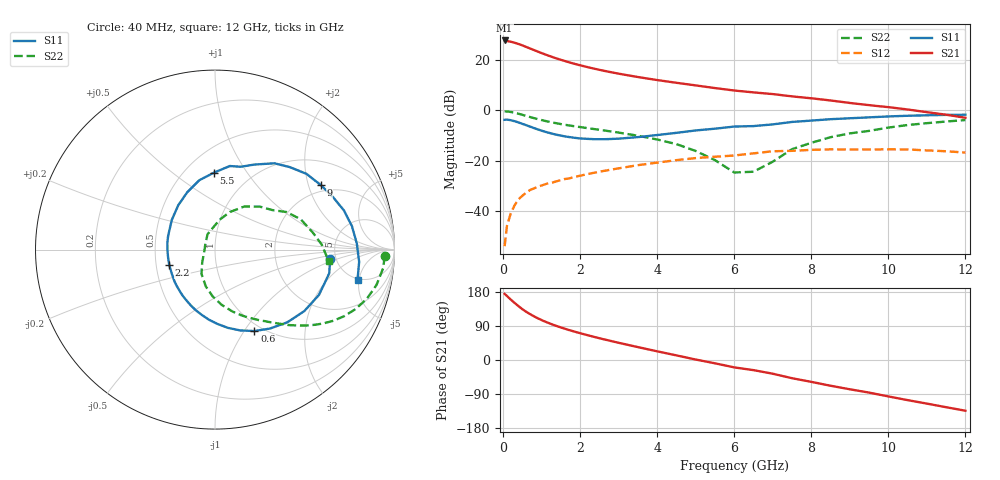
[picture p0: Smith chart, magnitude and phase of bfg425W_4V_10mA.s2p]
! Filename: 410bfg425.001
! BFG425W Field C1
! V1=8.334E-001V,V2=4.000E+000V, I1=1.119E-004A, I2=1.001E-002A
# GHz  S  MA  R 50
!  S11  S21  S12  S22
!Freq(GHz)  Mag  Ang  Mag  Ang  Mag  Ang  Mag  Ang
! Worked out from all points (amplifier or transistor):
!   44 points, 40 MHz to 12 GHz, reference 50 ohm
!   highest |S21| = 27.7 dB at 40 MHz (marker M1)
!   |S21| within 3 dB of that: start of sweep to 670 MHz
!   unconditionally stable (mu >= 1): start of sweep to 42.69 MHz; 1.875 GHz to end of sweep
!   at 700 MHz: K = 0.55, MSG = 28.1 dB, |S12| = -31.7 dB
!   at 2.4 GHz: K = 1.10, MAG = 18.7 dB, |S12| = -24.7 dB
!   at 12 GHz: K = 1.40, MAG = 3.1 dB, |S12| = -16.8 dB
!   S11 on the Smith chart (normalised r, x): 40 MHz: 4.48, -0.78; 600 MHz: 0.92, -1.11; 2.2 GHz: 0.59, -0.11; 5.5 GHz: 0.68, +0.72; 9 GHz: 1.77, +2.42; 12 GHz: 4.78, -4.77
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0.04  0.644 -4.5  24.18 174.5  0.002 47.8  0.946 -2.2
0.2  0.632 -23.5  22.83 159.4  0.009 70.8  0.921 -12.4
0.3  0.604 -34.6  21.76 150.6  0.013 68.2  0.889 -18.0
0.4  0.571 -45.3  20.58 142.2  0.017 64.7  0.85 -23.0
0.5  0.536 -55.1  19.32 134.1  0.02 61.5  0.809 -27.3
0.6  0.504 -64.2  17.99 127.3  0.023 58.9  0.769 -31.1
0.8  0.442 -80.6  15.61 115.4  0.028 54.6  0.696 -37.0
0.9  0.415 -87.9  14.55 110.2  0.03 53.1  0.664 -39.5
1  0.392 -94.9  13.58 105.4  0.032 51.9  0.636 -41.7
1.2  0.354 -107.8  11.92 96.8  0.036 49.7  0.588 -45.7
1.4  0.324 -119.7  10.56 89.4  0.039 48.2  0.547 -49.0
1.6  0.302 -131.1  9.462 82.6  0.043 46.8  0.514 -52.1
2.2  0.269 -161.4  7.126 65.3  0.054 42.7  0.439 -61.3
3  0.272 163.9  5.3 45.4  0.07 35.7  0.359 -74.1
3.5  0.292 145.6  4.545 34.0  0.081 30.3  0.311 -82.9
4.5  0.355 115.8  3.494 12.2  0.102 17.4  0.212 -103.9
5.5  0.429 90.8  2.744 -8.8  0.119 2.9  0.102 -134.4
6.5  0.483 72.8  2.254 -26.7  0.139 -8.1  0.06 155.6
8.5  0.662 39.6  1.558 -68.0  0.167 -44.9  0.291 55.7
9  0.691 31.2  1.391 -77.2  0.166 -53.2  0.346 43.8
10.5  0.774 9.8  1.032 -105.9  0.166 -80.5  0.507 19.4
12  0.812 -12.1  0.706 -133.9  0.144 -111.1  0.637 -5.8
